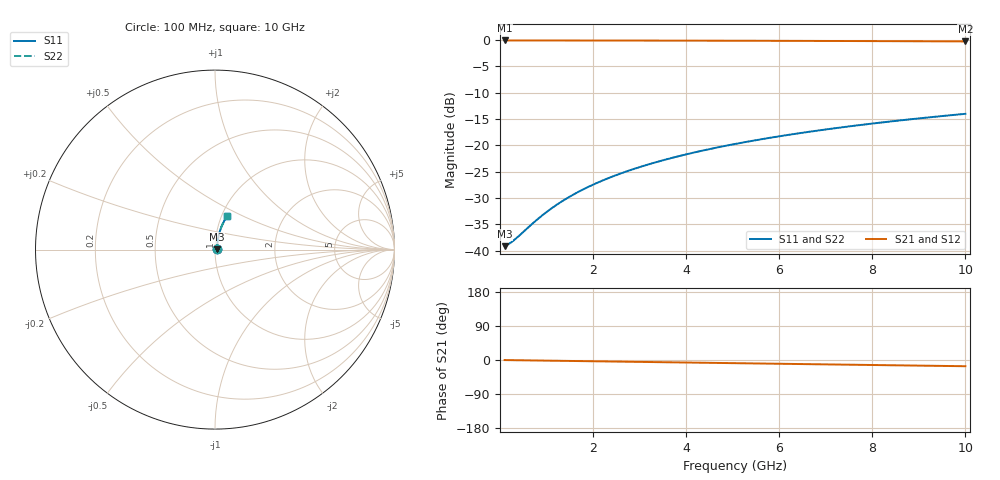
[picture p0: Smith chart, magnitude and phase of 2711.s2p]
# Hz S RI R 50.00
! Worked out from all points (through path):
!   100 points, 100 MHz to 10 GHz, reference 50 ohm
!   highest |S21| = -0.09 dB at 100 MHz (marker M1); lowest = -0.3 dB at 10 GHz (marker M2)
!   group delay of S21, straight-line fit = 4.57 ps
!   lowest |S11| = -39.1 dB at 100 MHz (marker M3), VSWR 1.02, Z = 51.1 + j0.205 ohm
!   |S11| at or under -10 dB: start of sweep to end of sweep
!   |S22| runs from -39.1 to -14.0 dB; largest |S21 - S12| = 0
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1e8  0.0109 0.00201  0.9891 -0.00287  0.9891 -0.00287  0.0109 0.00201
2e8  0.0109 0.00402  0.9891 -0.00574  0.9891 -0.00574  0.0109 0.00402
3e8  0.011 0.00603  0.989 -0.00861  0.989 -0.00861  0.011 0.00603
8e8  0.0115 0.0161  0.9885 -0.0229  0.9885 -0.0229  0.0115 0.0161
9e8  0.0116 0.0181  0.9883 -0.0258  0.9883 -0.0258  0.0116 0.0181
1.1e9  0.0119 0.0221  0.988 -0.0315  0.988 -0.0315  0.0119 0.0221
1.4e9  0.0124 0.0281  0.9875 -0.0401  0.9875 -0.0401  0.0124 0.0281
1.6e9  0.0128 0.0321  0.9871 -0.0458  0.9871 -0.0458  0.0128 0.0321
1.8e9  0.0132 0.0361  0.9867 -0.0516  0.9867 -0.0516  0.0132 0.0361
2.1e9  0.0139 0.042  0.9859 -0.0601  0.9859 -0.0601  0.0139 0.042
2.5e9  0.015 0.05  0.9847 -0.0715  0.9847 -0.0715  0.015 0.05
2.9e9  0.0163 0.0579  0.9833 -0.0828  0.9833 -0.0828  0.0163 0.0579
3.4e9  0.0182 0.0677  0.9813 -0.097  0.9813 -0.097  0.0182 0.0677
3.8e9  0.0199 0.0755  0.9795 -0.1082  0.9795 -0.1082  0.0199 0.0755
4.2e9  0.0218 0.0832  0.9775 -0.1195  0.9775 -0.1195  0.0218 0.0832
4.6e9  0.0238 0.0909  0.9753 -0.1306  0.9753 -0.1306  0.0238 0.0909
5.1e9  0.0266 0.1005  0.9724 -0.1445  0.9724 -0.1445  0.0266 0.1005
5.9e9  0.0317 0.1155  0.967 -0.1664  0.967 -0.1664  0.0317 0.1155
6.7e9  0.0374 0.1303  0.9609 -0.1881  0.9609 -0.1881  0.0374 0.1303
7.5e9  0.0437 0.1447  0.9541 -0.2095  0.9541 -0.2095  0.0437 0.1447
8.4e9  0.0516 0.1605  0.9457 -0.2331  0.9457 -0.2331  0.0516 0.1605
1e10  0.0674 0.1873  0.9288 -0.2738  0.9288 -0.2738  0.0674 0.1873
